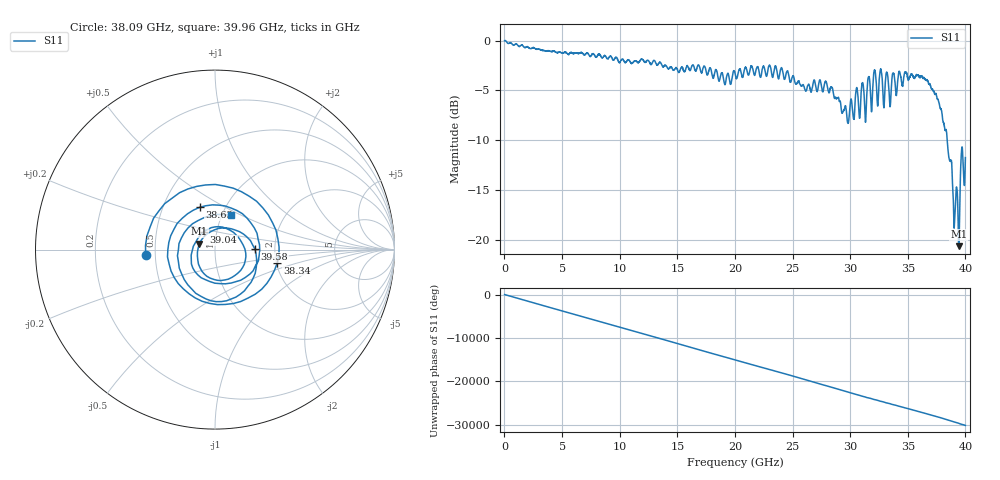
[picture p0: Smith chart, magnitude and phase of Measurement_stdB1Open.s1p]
!Keysight Technologies,M9808A,MY58100004,Z.13.03.239
!Automatic Fixture Removal (AFR)
!Date: Tuesday, September 10, 2019, 11:03:22
!S1P File: Measurements: S11:
# MHz S  RI  R 50
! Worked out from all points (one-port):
!   4000 points, 10 MHz to 40 GHz, reference 50 ohm
!   lowest |S11| = -20.6 dB at 39.42 GHz (marker M1), VSWR 1.20, Z = 41.9 + j2.8 ohm
!   |S11| at or under -10 dB: 38.42 GHz to end of sweep
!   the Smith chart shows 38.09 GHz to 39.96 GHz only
!   S11 on the Smith chart (normalised r, x): 38.09 GHz: 0.44, -0.03; 38.34 GHz: 2.03, -0.34; 38.63 GHz: 0.76, +0.38; 39.04 GHz: 0.87, +0.17; 39.58 GHz: 1.57, +0.02; 39.96 GHz: 1.11, +0.44
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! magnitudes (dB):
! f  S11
! 10 MHz  0.0
! 5.01 GHz  -1.3
! 10.01 GHz  -2.2
! 15.01 GHz  -2.9
! 20.01 GHz  -3.3
! 23 GHz  -2.5
! 25.01 GHz  -3.6
! 27.9 GHz  -4.1
! 29.73 GHz  -7.8
! 30.01 GHz  -6.3
! 31.07 GHz  -4.2
! 31.34 GHz  -8.1
! 32.12 GHz  -3.0
! 32.92 GHz  -6.7
! 33.2 GHz  -3.2
! 33.46 GHz  -6.7
! 33.75 GHz  -3.3
! 35.01 GHz  -3.8
! 36.78 GHz  -4.3
! 38.09 GHz  -8.2
! 38.34 GHz  -9.0
! 38.63 GHz  -12.0
! 39.04 GHz  -18.6
! 39.42 GHz  -20.6
! 39.58 GHz  -13.1
! 39.72 GHz  -10.7
! 39.96 GHz  -13.5
! 40 GHz  -11.8
